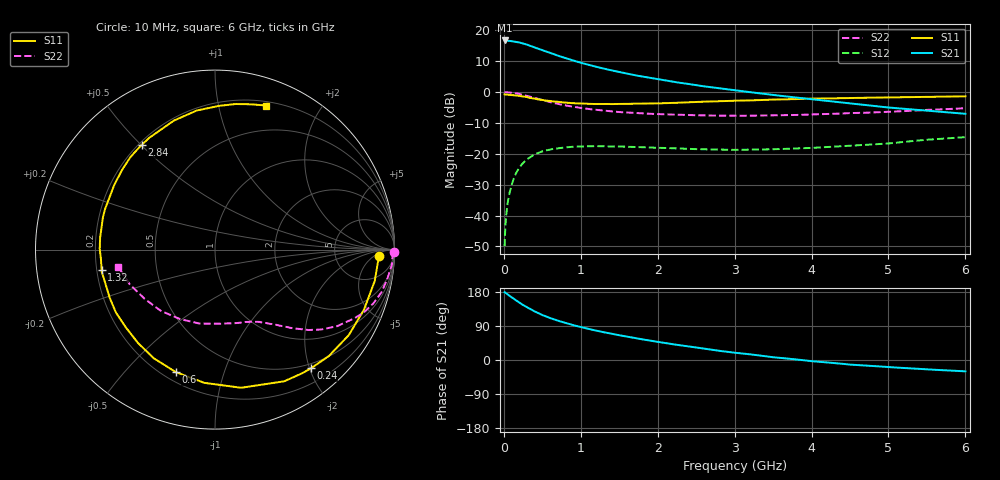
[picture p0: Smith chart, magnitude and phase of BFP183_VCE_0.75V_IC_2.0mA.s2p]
! Infineon Technologies  Discrete & RF Semiconductors
! BFP183
! VCE = 0.75V,  IC =  2.0 mA
! Common Emitter S-Parameters:  Jan 2016
# GHz  S  MA  R  50
!  f  S11  S21  S12  S22
! GHz  MAG  ANG  MAG  ANG  MAG  ANG  MAG  ANG
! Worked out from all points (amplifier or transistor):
!   210 points, 10 MHz to 6 GHz, reference 50 ohm
!   highest |S21| = 16.7 dB at 10 MHz (marker M1)
!   |S21| within 3 dB of that: start of sweep to 482.7 MHz
!   unconditionally stable (mu >= 1): 1.974 GHz to end of sweep
!   at 185 MHz: K = 0.11, MSG = 20.6 dB, |S12| = -25.1 dB
!   at 1.52 GHz: K = 0.77, MSG = 12.0 dB, |S12| = -17.7 dB
!   at 6 GHz: K = 1.13, MAG = 1.6 dB, |S12| = -14.6 dB
!   S11 on the Smith chart (normalised r, x): 10 MHz: 19, -8; 240 MHz: 0.42, -2.02; 600 MHz: 0.25, -0.70; 1.32 GHz: 0.22, -0.08; 2.84 GHz: 0.21, +0.50; 6 GHz: 0.24, +1.39
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0.01  0.9154 -2.1  6.825 178.9  0.0032 89.4  0.9979 -0.9
0.02  0.9101 -4.6  6.81 177.6  0.0066 88.0  0.9902 -2.0
0.03  0.9078 -6.8  6.793 176.0  0.0098 86.1  0.9896 -3.0
0.07  0.8983 -15.4  6.716 169.9  0.022 80.7  0.9823 -6.8
0.155  0.8817 -33.6  6.473 157.6  0.0475 70.0  0.9549 -14.8
0.2  0.8683 -43.1  6.333 151.5  0.0594 65.7  0.9322 -18.7
0.24  0.8503 -51.1  6.133 146.3  0.0686 61.1  0.9069 -22.0
0.3  0.8288 -62.3  5.856 139.4  0.0813 55.5  0.8661 -26.2
0.4  0.7834 -79.3  5.284 128.1  0.0977 46.9  0.803 -32.1
0.5  0.7447 -94.6  4.749 118.7  0.1095 39.6  0.7412 -36.9
0.6  0.7168 -107.7  4.324 110.8  0.1176 33.5  0.6873 -40.7
0.7  0.6949 -119.4  3.879 103.9  0.1228 28.8  0.6418 -43.5
0.8  0.6743 -129.5  3.544 97.6  0.1267 24.7  0.6062 -46.0
1.02  0.6512 -149.1  2.93 85.8  0.1317 17.6  0.5481 -50.2
1.32  0.6416 -170.0  2.359 72.5  0.1324 10.8  0.4965 -55.4
1.58  0.6428 175.1  2.009 62.4  0.1304 7.3  0.4676 -59.4
2.02  0.6555 154.0  1.594 47.3  0.125 4.4  0.4379 -67.0
2.84  0.7118 125.0  1.134 23.3  0.1169 4.7  0.4144 -85.1
3.1  0.726 117.8  1.031 17.2  0.1164 5.9  0.4129 -91.8
4.1  0.7837 95.7  0.74 -4.7  0.1265 12.3  0.4356 -120.0
5.1  0.8216 80.7  0.548 -19.9  0.1513 15.6  0.4842 -148.1
6  0.8518 70.4  0.444 -29.9  0.186 11.4  0.5477 -170.0
